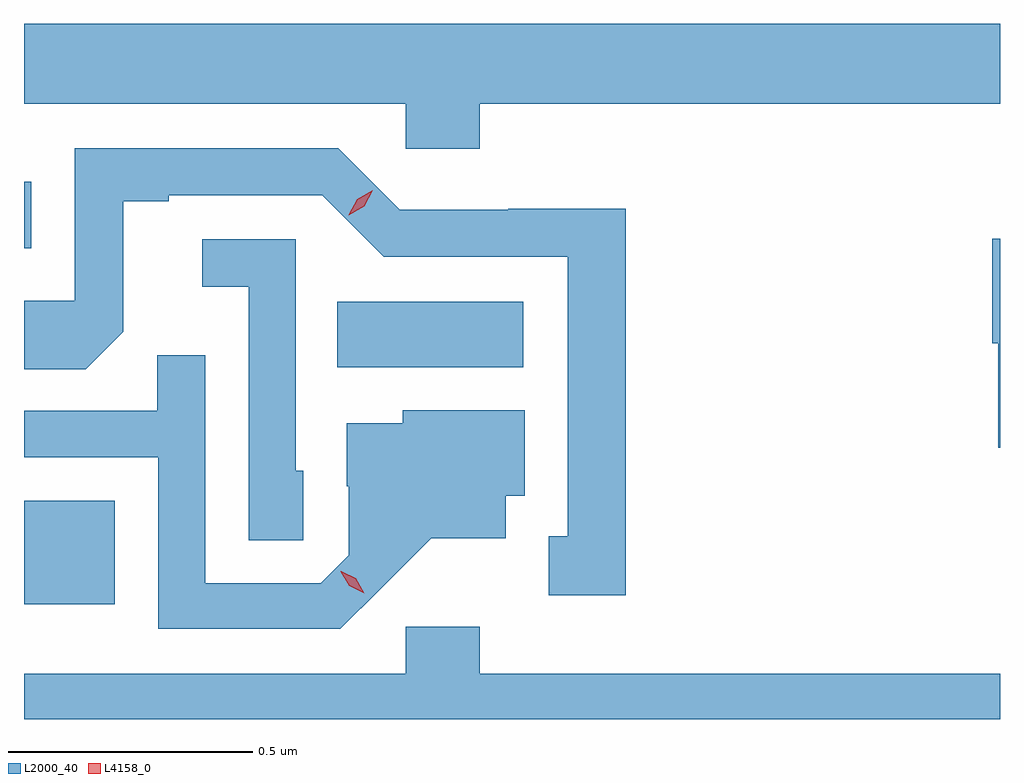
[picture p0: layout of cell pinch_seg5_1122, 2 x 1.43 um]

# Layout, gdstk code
import gdstk
lib = gdstk.Library(unit=1e-6, precision=1e-09)
def R(c, l, rs):  # rectangles x0, y0, x1, y1
    for r in rs: c.add(gdstk.rectangle(r[:2], r[2:], *l))
def P(c, l, *ps):  # polygons
    for p in ps: c.add(gdstk.Polygon(p, *l))
L2000_40 = (2000, 40)
L4158_0 = (4158, 0)

pinch_seg5_1122 = lib.new_cell('pinch_seg5_1122')
R(pinch_seg5_1122, L2000_40, [(792.514,871.718,792.7,871.93), (793.156,872.204,793.537,872.338), (792.514,872.448,792.529,872.584)])
P(pinch_seg5_1122, L2000_40, [(793.448,872.744),(794.514,872.744),(794.514,872.908),(792.514,872.908),(792.514,872.744),(793.296,872.744),(793.296,872.651),(793.448,872.651)],
  [(793.747,872.528),(793.506,872.528),(793.506,872.526),(793.284,872.526),(793.158,872.652),(792.618,872.652),(792.618,872.34),(792.514,872.34),(792.514,872.2),(792.641,872.2),(792.717,872.276),(792.717,872.544),(792.811,872.544),(792.811,872.556),(793.125,872.556),(793.251,872.43),(793.628,872.43),(793.628,871.857),(793.589,871.857),(793.589,871.737),(793.747,871.737)],
  [(794.514,872.467),(794.498,872.467),(794.498,872.253),(794.51,872.253),(794.51,872.039),(794.514,872.039)],
  [(793.086,871.992),(793.071,871.992),(793.071,872.466),(792.879,872.466),(792.879,872.369),(792.975,872.369),(792.975,871.849),(793.086,871.849)],
  [(793.246,871.751),(793.349,871.853),(793.501,871.853),(793.501,871.94),(793.54,871.94),(793.54,872.116),(793.29,872.116),(793.29,872.089),(793.175,872.089),(793.175,871.96),(793.179,871.96),(793.179,871.818),(793.122,871.761),(792.885,871.761),(792.885,872.228),(792.787,872.228),(792.787,872.115),(792.514,872.115),(792.514,872.019),(792.789,872.019),(792.789,871.668),(793.162,871.668)],
  [(794.514,871.576),(793.448,871.576),(793.448,871.672),(793.296,871.672),(793.296,871.576),(792.514,871.576),(792.514,871.482),(794.514,871.482)])
P(pinch_seg5_1122, L4158_0, [(793.211,871.741),(793.181,871.756),(793.163,871.785),(793.163,871.786),(793.164,871.786),(793.194,871.771),(793.211,871.741),(793.211,871.741)],
  [(793.179,872.515),(793.179,872.516),(793.197,872.548),(793.229,872.566),(793.229,872.566),(793.229,872.566),(793.211,872.534),(793.179,872.515)])

lib.write_gds('pinch_seg5_1122.gds')
